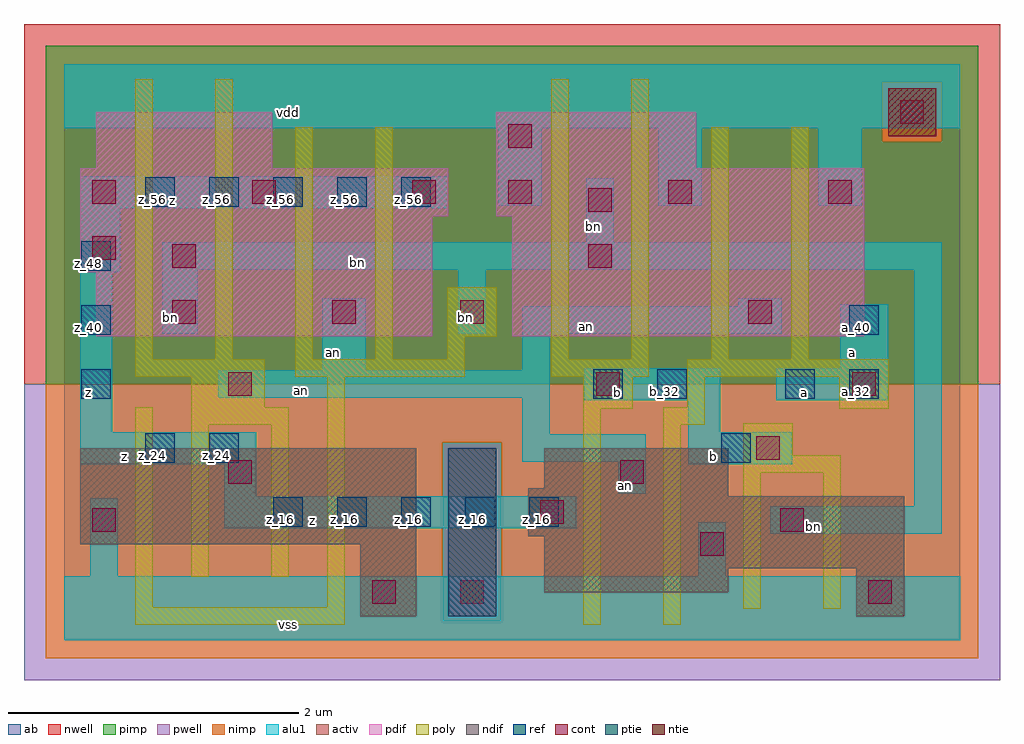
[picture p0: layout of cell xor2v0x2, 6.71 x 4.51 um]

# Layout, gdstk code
import gdstk
lib = gdstk.Library(unit=1e-6, precision=2.5e-09)
def R(c, l, rs):  # rectangles x0, y0, x1, y1
    for r in rs: c.add(gdstk.rectangle(r[:2], r[2:], *l))
def A(c, l, x, y, w, h, nx, ny, dx, dy):  # array of equal rectangles
    R(c, l, [(x+i*dx, y+j*dy, x+i*dx+w, y+j*dy+h) for i in range(nx) for j in range(ny)])
ndif = (3, 0)
pdif = (4, 0)
ntie = (5, 0)
ptie = (6, 0)
ref = (24, 0)
cont = (25, 0)
pwell = (41, 0)
nwell = (42, 0)
activ = (43, 0)
pimp = (44, 0)
nimp = (45, 0)
poly = (46, 0)
alu1 = (49, 0)
ab = (63, 0)

xor2v0x2 = lib.new_cell('xor2v0x2')
R(xor2v0x2, ndif, [(2.035,0.165,2.42,0.66), (5.445,0.165,5.775,0.495), (3.3,0.33,4.565,0.495), (3.3,0.495,5.775,0.715), (0.11,0.66,2.42,1.32), (3.19,0.715,5.775,0.99), (3.19,0.99,4.565,1.045), (3.3,1.045,4.565,1.32)])
R(xor2v0x2, pdif, [(0.22,2.09,2.53,2.53), (3.08,2.09,5.5,2.915), (0.11,2.53,2.53,2.915), (0.11,2.915,2.64,3.245), (2.97,2.915,5.5,3.245), (0.22,3.245,1.43,3.63), (2.97,3.245,4.345,3.63)])
R(xor2v0x2, ntie, [(5.665,3.465,5.995,3.795)])
R(xor2v0x2, ptie, [(2.64,0.165,2.97,1.32)])
A(xor2v0x2, ref, 1.44, 0.78, 0.2, 0.2, 5, 1, 0.44, 0)
A(xor2v0x2, ref, 0.12, 1.66, 0.2, 0.2, 1, 3, 0, 0.44)
A(xor2v0x2, ref, 0.56, 2.98, 0.2, 0.2, 5, 1, 0.44, 0)
R(xor2v0x2, ref, [(0.56,1.22,0.76,1.42), (1,1.22,1.2,1.42), (4.52,1.22,4.72,1.42), (3.64,1.66,3.84,1.86), (4.08,1.66,4.28,1.86), (4.96,1.66,5.16,1.86), (5.4,1.66,5.6,1.86), (5.4,2.1,5.6,2.3)])
A(xor2v0x2, cont, 0.195, 3, 0.16, 0.16, 3, 1, 1.1, 0)
A(xor2v0x2, cont, 3.055, 3, 0.16, 0.16, 3, 1, 1.1, 0)
R(xor2v0x2, cont, [(2.12,0.25,2.28,0.41), (2.725,0.25,2.885,0.41), (5.53,0.25,5.69,0.41), (4.375,0.58,4.535,0.74), (0.195,0.745,0.355,0.905), (4.925,0.745,5.085,0.905), (3.275,0.8,3.435,0.96), (1.13,1.075,1.29,1.235), (3.825,1.075,3.985,1.235), (4.76,1.24,4.92,1.4), (1.13,1.68,1.29,1.84), (3.66,1.68,3.82,1.84), (5.42,1.68,5.58,1.84), (0.745,2.175,0.905,2.335), (1.845,2.175,2.005,2.335), (2.725,2.175,2.885,2.335), (4.705,2.175,4.865,2.335), (0.745,2.56,0.905,2.72), (3.605,2.56,3.765,2.72), (0.195,2.615,0.355,2.775), (3.605,2.945,3.765,3.105), (3.055,3.385,3.215,3.545), (5.75,3.55,5.91,3.71)])
R(xor2v0x2, pwell, [(-0.275,-0.275,6.435,1.76)])
R(xor2v0x2, nwell, [(-0.275,1.76,6.435,4.235)])
R(xor2v0x2, activ, [(2.035,0.165,2.42,0.66), (2.64,0.165,2.97,1.32), (5.445,0.165,5.775,0.495), (3.3,0.33,4.565,0.495), (3.3,0.495,5.775,0.715), (0.11,0.66,2.42,1.32), (3.19,0.715,5.775,0.99), (3.19,0.99,4.565,1.045), (3.3,1.045,4.565,1.32), (0.22,2.09,2.53,2.53), (3.08,2.09,5.5,2.915), (0.11,2.53,2.53,2.915), (0.11,2.915,2.64,3.245), (2.97,2.915,5.5,3.245), (0.22,3.245,1.43,3.63), (2.97,3.245,4.345,3.63), (5.665,3.465,5.995,3.795)])
R(xor2v0x2, pimp, [(2.6,0.125,3.01,1.36), (-0.125,1.76,6.285,3.425), (-0.125,3.425,5.625,3.835), (6.035,3.425,6.285,3.835), (-0.125,3.835,6.285,4.085)])
R(xor2v0x2, nimp, [(-0.125,-0.125,6.285,0.125), (-0.125,0.125,2.6,1.36), (3.01,0.125,6.285,1.36), (-0.125,1.36,6.285,1.76), (5.625,3.425,6.035,3.835)])
R(xor2v0x2, poly, [(0.49,0.105,1.93,0.225), (3.57,0.105,3.69,1.59), (4.12,0.105,4.24,1.48), (4.67,0.215,4.79,1.15), (5.22,0.215,5.34,1.15), (0.49,0.225,0.61,1.6), (1.81,0.225,1.93,1.81), (0.875,0.435,0.995,1.48), (1.425,0.435,1.545,1.48), (4.67,1.15,5.34,1.27), (4.67,1.27,5.01,1.49), (0.875,1.48,1.545,1.6), (4.12,1.48,4.405,1.6), (3.57,1.59,3.91,1.81), (5.33,1.59,5.67,1.81), (0.875,1.6,1.38,1.81), (4.285,1.6,4.405,1.81), (0.49,1.81,1.38,1.93), (1.59,1.81,2.755,1.93), (3.35,1.81,4.02,1.93), (4.285,1.81,5.67,1.93), (0.49,1.93,0.61,3.855), (1.04,1.93,1.16,3.855), (1.59,1.93,1.71,3.525), (2.14,1.93,2.26,3.525), (2.635,1.93,2.755,2.085), (3.35,1.93,3.47,3.855), (3.9,1.93,4.02,3.855), (4.45,1.93,4.57,3.525), (5,1.93,5.12,3.525), (2.635,2.085,2.975,2.425)])
A(xor2v0x2, alu1, 2.985, 2.985, 0.3, 0.535, 3, 1, 1.1, 0)
R(xor2v0x2, alu1, [(0,0,6.16,0.44), (0.18,0.44,0.37,0.975), (4.36,0.44,4.55,0.81), (4.855,0.73,6.035,0.92), (1.1,0.77,3.52,0.99), (5.845,0.92,6.035,2.545), (1.1,0.99,1.32,1.21), (3.81,1.005,4,1.225), (0.11,1.21,1.32,1.43), (4.29,1.21,5.005,1.43), (3.15,1.225,4,1.415), (3.15,1.415,3.34,1.665), (0.11,1.43,0.33,2.53), (4.29,1.43,4.51,1.65), (3.575,1.65,4.51,1.87), (4.895,1.65,5.665,1.87), (1.06,1.665,3.34,1.855), (1.775,1.855,2.075,2.35), (3.15,1.855,3.34,2.105), (5.335,1.87,5.665,2.31), (0.675,2.105,0.92,2.545), (2.71,2.105,2.9,2.545), (3.15,2.105,4.935,2.295), (4.635,2.295,4.935,2.35), (0.11,2.53,0.385,2.97), (0.675,2.545,6.035,2.735), (3.59,2.735,3.78,3.175), (0.11,2.97,2.64,3.19), (0,3.52,6.16,3.96)])
R(xor2v0x2, ab, [(0,0,6.16,3.96)])
xor2v0x2.add(gdstk.Label('vss', (1.54,0.11), layer=49, texttype=0))
xor2v0x2.add(gdstk.Label('bn', (5.15,0.7775), layer=49, texttype=0))
xor2v0x2.add(gdstk.Label('z', (1.705,0.825), layer=49, texttype=0))
xor2v0x2.add(gdstk.Label('b', (4.4675,1.265), layer=49, texttype=0))
xor2v0x2.add(gdstk.Label('an', (3.8575,1.06), layer=49, texttype=0))
xor2v0x2.add(gdstk.Label('a', (5.0875,1.705), layer=49, texttype=0))
xor2v0x2.add(gdstk.Label('b', (3.8075,1.705), layer=49, texttype=0))
xor2v0x2.add(gdstk.Label('z', (0.4125,1.265), layer=49, texttype=0))
xor2v0x2.add(gdstk.Label('an', (1.63,1.7125), layer=49, texttype=0))
xor2v0x2.add(gdstk.Label('a', (5.4175,1.98), layer=49, texttype=0))
xor2v0x2.add(gdstk.Label('an', (3.595,2.1525), layer=49, texttype=0))
xor2v0x2.add(gdstk.Label('bn', (2.7575,2.215), layer=49, texttype=0))
xor2v0x2.add(gdstk.Label('an', (1.85,1.9775), layer=49, texttype=0))
xor2v0x2.add(gdstk.Label('bn', (0.735,2.215), layer=49, texttype=0))
xor2v0x2.add(gdstk.Label('z', (0.165,1.705), layer=49, texttype=0))
xor2v0x2.add(gdstk.Label('bn', (2.015,2.5925), layer=49, texttype=0))
xor2v0x2.add(gdstk.Label('bn', (3.6375,2.845), layer=49, texttype=0))
xor2v0x2.add(gdstk.Label('z', (0.7425,3.025), layer=49, texttype=0))
xor2v0x2.add(gdstk.Label('vdd', (1.54,3.63), layer=49, texttype=0))
xor2v0x2.add(gdstk.Label('a_32', (5.01,1.71), layer=24, texttype=0))
xor2v0x2.add(gdstk.Label('b_24', (4.57,1.27), layer=24, texttype=0))
xor2v0x2.add(gdstk.Label('b_32', (4.13,1.71), layer=24, texttype=0))
xor2v0x2.add(gdstk.Label('b_32', (3.69,1.71), layer=24, texttype=0))
xor2v0x2.add(gdstk.Label('z_16', (3.25,0.83), layer=24, texttype=0))
xor2v0x2.add(gdstk.Label('z_16', (2.81,0.83), layer=24, texttype=0))
xor2v0x2.add(gdstk.Label('z_56', (2.37,3.03), layer=24, texttype=0))
xor2v0x2.add(gdstk.Label('z_16', (2.37,0.83), layer=24, texttype=0))
xor2v0x2.add(gdstk.Label('z_48', (0.17,2.59), layer=24, texttype=0))
xor2v0x2.add(gdstk.Label('z_40', (0.17,2.15), layer=24, texttype=0))
xor2v0x2.add(gdstk.Label('z_32', (0.17,1.71), layer=24, texttype=0))
xor2v0x2.add(gdstk.Label('z_56', (1.93,3.03), layer=24, texttype=0))
xor2v0x2.add(gdstk.Label('z_16', (1.93,0.83), layer=24, texttype=0))
xor2v0x2.add(gdstk.Label('z_56', (1.49,3.03), layer=24, texttype=0))
xor2v0x2.add(gdstk.Label('z_16', (1.49,0.83), layer=24, texttype=0))
xor2v0x2.add(gdstk.Label('z_56', (1.05,3.03), layer=24, texttype=0))
xor2v0x2.add(gdstk.Label('z_24', (1.05,1.27), layer=24, texttype=0))
xor2v0x2.add(gdstk.Label('z_56', (0.61,3.03), layer=24, texttype=0))
xor2v0x2.add(gdstk.Label('z_24', (0.61,1.27), layer=24, texttype=0))
xor2v0x2.add(gdstk.Label('a_40', (5.45,2.15), layer=24, texttype=0))
xor2v0x2.add(gdstk.Label('a_32', (5.45,1.71), layer=24, texttype=0))

lib.write_gds('xor2v0x2.gds')
